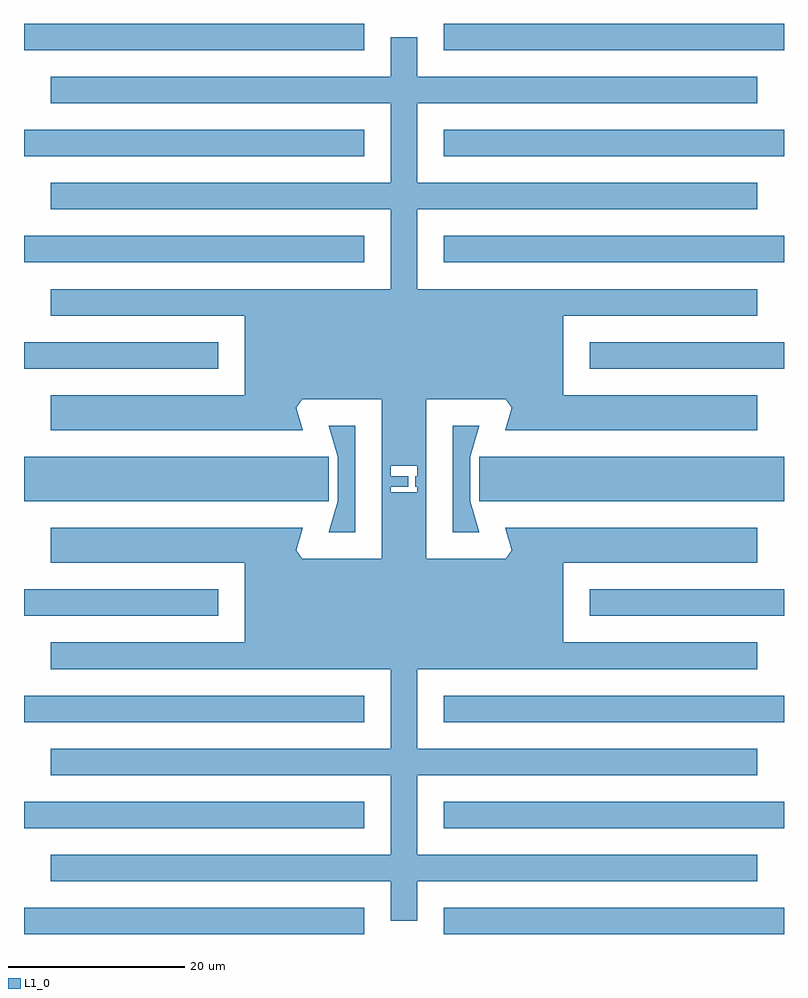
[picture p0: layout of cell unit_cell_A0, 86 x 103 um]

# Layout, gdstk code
from math import pi, radians
import gdstk
lib = gdstk.Library(unit=1e-6, precision=1e-09)
def R(c, l, rs):  # rectangles x0, y0, x1, y1
    for r in rs: c.add(gdstk.rectangle(r[:2], r[2:], *l))
def P(c, l, *ps):  # polygons
    for p in ps: c.add(gdstk.Polygon(p, *l))
L1_0 = (1, 0)

unnamed_107 = lib.new_cell('Unnamed_107')
P(unnamed_107, L1_0, [(38.5,0),(38.5,4.5),(0,4.5),(0,7.5),(38.5,7.5),(38.5,16.5),(0,16.5),(0,19.5),(38.5,19.5),(38.5,28.5),(0,28.5),(0,31.5),(22,31.5),(22,40.5),(0,40.5),(0,44.5),(28.522,44.5),(27.791,41.94),(28.5,41),(37.5,41),(37.5,50),(38.5,50),(38.5,48.5),(40,48.5),(40,0)])

straight_l38p5_n2_csxs_e = lib.new_cell('straight_L38p5_N2_CSxs_e9659eb0')
R(straight_l38p5_n2_csxs_e, L1_0, [(0,-1.5,38.5,1.5)])

straight_array_n3_s9_l3_ = lib.new_cell('straight_array_N3_S9_L3_b91b2c6a')
straight_array_n3_s9_l3_.add(gdstk.Reference(straight_l38p5_n2_csxs_e, (0,0)))
straight_array_n3_s9_l3_.add(gdstk.Reference(straight_l38p5_n2_csxs_e, (0,12)))
straight_array_n3_s9_l3_.add(gdstk.Reference(straight_l38p5_n2_csxs_e, (0,24)))

straight_l22_n2_csxs_e96 = lib.new_cell('straight_L22_N2_CSxs_e9659eb0')
R(straight_l22_n2_csxs_e96, L1_0, [(0,-1.5,22,1.5)])

unnamed_104 = lib.new_cell('Unnamed_104')
unnamed_104.add(gdstk.Reference(straight_array_n3_s9_l3_, (-3,0)))
unnamed_104.add(gdstk.Reference(straight_l22_n2_csxs_e96, (-3,36)))

straight_l34p5_n2_csxs_3 = lib.new_cell('straight_L34p5_N2_CSxs_3e6774cf')
R(straight_l34p5_n2_csxs_3, L1_0, [(0,-2.5,34.5,2.5)])

triangle_x6_x2p5_y2_y3_l = lib.new_cell('triangle_X6_X2p5_Y2_Y3_L1_0')
P(triangle_x6_x2p5_y2_y3_l, L1_0, [(0,0),(0,2),(2.5,2),(6,3),(6,0)])

unnamed_105 = lib.new_cell('Unnamed_105')
unnamed_105.add(gdstk.Reference(straight_l34p5_n2_csxs_3, (-3,50)))
unnamed_105.add(gdstk.Reference(triangle_x6_x2p5_y2_y3_l, (34.5,50), rotation=3*pi/2, x_reflection=True))

unnamed_108 = lib.new_cell('Unnamed_108')
unnamed_108.add(gdstk.Reference(unnamed_107, (0,0)))
unnamed_108.add(gdstk.Reference(unnamed_104, (0,0)))
unnamed_108.add(gdstk.Reference(unnamed_105, (0,0)))

rectangle_s2_0p6_lwg_cf_ = lib.new_cell('rectangle_S2_0p6_LWG_CF_a6a46f17')
R(rectangle_s2_0p6_lwg_cf_, L1_0, [(0,0,2,0.6)])

rectangle_s0p2_1p2_lwg__ = lib.new_cell('rectangle_S0p2_1p2_LWG__107b6a9b')
R(rectangle_s0p2_1p2_lwg__, L1_0, [(0,0,0.2,1.2)])

unnamed_109 = lib.new_cell('Unnamed_109')
unnamed_109.add(gdstk.Reference(rectangle_s2_0p6_lwg_cf_, (0,0)))
unnamed_109.add(gdstk.Reference(rectangle_s0p2_1p2_lwg__, (2.8,-0.6)))

unit_cell_a0 = lib.new_cell('unit_cell_A0')
unit_cell_a0.add(gdstk.Reference(unnamed_108, (0,0)))
unit_cell_a0.add(gdstk.Reference(unnamed_108, (80,0), rotation=pi, x_reflection=True))
unit_cell_a0.add(gdstk.Reference(unnamed_108, (0,100), x_reflection=True))
unit_cell_a0.add(gdstk.Reference(unnamed_108, (80,100), rotation=pi))
unit_cell_a0.add(gdstk.Reference(unnamed_109, (38.5,49.7)))
unit_cell_a0.add(gdstk.Reference(unnamed_109, (38.5,49.7), x_reflection=True))

lib.write_gds('unit_cell_A0.gds')
